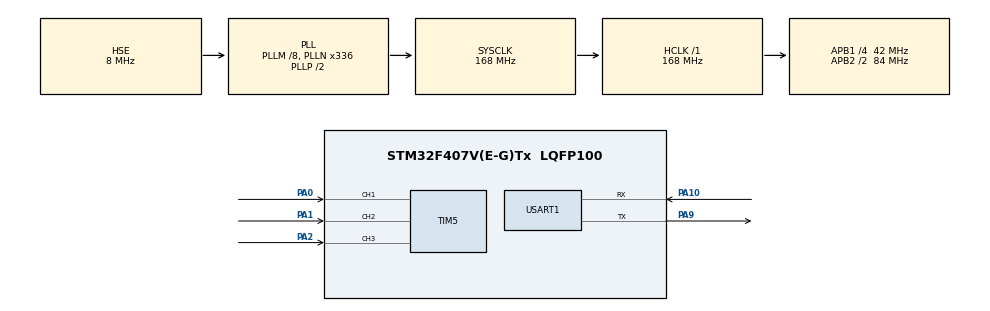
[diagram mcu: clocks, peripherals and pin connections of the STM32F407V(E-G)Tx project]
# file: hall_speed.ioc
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Mcu.Family=STM32F4
Mcu.Name=STM32F407V(E-G)Tx
Mcu.Package=LQFP100
NVIC.PriorityGroup=NVIC_PRIORITYGROUP_4
NVIC.TIM5_IRQn=true\:0\:0\:false\:false\:true\:true\:true\:true
PA0-WKUP.Signal=S_TIM5_CH1
PA1.Signal=S_TIM5_CH2
PA10.Mode=Asynchronous
PA10.Signal=USART1_RX
PA2.Signal=S_TIM5_CH3
PA9.Mode=Asynchronous
PA9.Signal=USART1_TX
PH0-OSC_IN.Mode=HSE-External-Oscillator
PH0-OSC_IN.Signal=RCC_OSC_IN
PH1-OSC_OUT.Mode=HSE-External-Oscillator
PH1-OSC_OUT.Signal=RCC_OSC_OUT
ProjectManager.HeapSize=0x200
ProjectManager.StackSize=0x400
ProjectManager.TargetToolchain=MDK-ARM V5
RCC.48MHZClocksFreq_Value=84000000
RCC.AHBFreq_Value=168000000
RCC.APB1CLKDivider=RCC_HCLK_DIV4
RCC.APB1Freq_Value=42000000
RCC.APB1TimFreq_Value=84000000
RCC.APB2CLKDivider=RCC_HCLK_DIV2
RCC.APB2Freq_Value=84000000
RCC.APB2TimFreq_Value=168000000
RCC.CortexFreq_Value=168000000
RCC.HCLKFreq_Value=168000000
RCC.HSE_VALUE=8000000
RCC.HSI_VALUE=16000000
RCC.LSE_VALUE=32768
RCC.PLLM=8
RCC.PLLN=336
RCC.PLLSourceVirtual=RCC_PLLSOURCE_HSE
RCC.SYSCLKFreq_VALUE=168000000
RCC.SYSCLKSource=RCC_SYSCLKSOURCE_PLLCLK
RCC.VCOOutputFreq_Value=336000000
SH.S_TIM5_CH1.0=TIM5_CH1,Xored_Inputs_Hall_Sensor_Interface
SH.S_TIM5_CH2.0=TIM5_CH2,Xored_Inputs_Hall_Sensor_Interface
SH.S_TIM5_CH3.0=TIM5_CH3,Xored_Inputs_Hall_Sensor_Interface
USART1.VirtualMode=VM_ASYNC
board=custom

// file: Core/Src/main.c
/* USER CODE BEGIN Header */
/**
  ******************************************************************************
  * @file           : main.c
  * @brief          : Main program body
  ******************************************************************************
  * @attention
  *
  * Copyright (c) 2023 STMicroelectronics.
  * All rights reserved.
  *
  * This software is licensed under terms that can be found in the LICENSE file
  * in the root directory of this software component.
  * If no LICENSE file comes with this software, it is provided AS-IS.
  *
  ******************************************************************************
  */
/* USER CODE END Header */
#include "main.h"
#include "tim.h"
#include "usart.h"
#include "gpio.h"

/* USER CODE BEGIN Includes */
#include "bsp_bldc.h"
#include "bsp_hall.h"
/* USER CODE END Includes */

/* USER CODE BEGIN PTD */
#define TIMECNT   800
/* USER CODE END PTD */

/* USER CODE BEGIN PD */
float MotorSpeed  = 0.0f ;// 电机转速,这里是占空比,

_Bool isTimeUp    = 0;     // 计时标记
uint32_t timeTick = 0;   // 计时标记
extern MotorSta_Typedef Motor_State; // 电机使能状态
extern MotorDir_Typedef Motor_Dir;  // 电机方向 ,顺时针
extern float PWM_Duty;        // 25%占空比

extern MotorDir_Typedef RT_hallDir; // 霍尔顺序得到的电机转动方向

/* USER CODE END PD */

void SystemClock_Config(void);

int main(void)
{
  /* USER CODE BEGIN 1 */
float Speed_hz  = 0 ;
  /* USER CODE END 1 */

  /* MCU Configuration--------------------------------------------------------*/

  /* Reset of all peripherals, Initializes the Flash interface and the Systick. */
  HAL_Init();

  /* USER CODE BEGIN Init */
HALLSensor_TIMx_Init();
  /* USER CODE END Init */

  /* Configure the system clock */
  SystemClock_Config();

  /* Initialize all configured peripherals */
  MX_GPIO_Init();
  MX_TIM5_Init();
  MX_USART1_UART_Init();
  /* USER CODE BEGIN 2 */
   Motor_Dir = MOTOR_DIR_CW;
	printf(" <- 直流无刷电机基础驱动_HALL传感器测速 -> \n");
  printf(" <- 定时器的霍尔传感器接口功能,在CH1的比较器里面保存有两次边沿之间的\n");
  printf("计数值,根据这些计数值就可以测量出电机转速 -> \n");
  printf("正负代表方向 -> \n");
  printf("按键KEY1启动电机\n");
  printf("KEY2电机更换方向\n");
  printf("KEY3电机加速\n");
  printf("KEY4电机减速\n");
  printf("KEY5电机刹车停止\n");

  timeTick = TIMECNT;
  /* USER CODE END 2 */

  /* Infinite loop */
  /* USER CODE BEGIN WHILE */
  while (1)
  {
		if( isTimeUp )
    {
      uint32_t tmpCC = 0;
      if(RT_hallcnt == 0) // 避免除数为0
      {
        Speed_hz = 0;
      }
      else
      {
        tmpCC = RT_hallcomp / RT_hallcnt; // tmpCC:两次捕获之间的捕获值,
        Speed_hz = (float)HALL_TIM_FREQ/(float)(tmpCC);
      }
      RT_hallcomp = 0;
      RT_hallcnt  = 0;
      /* 霍尔信号的频率,转速rps,转速rpm */
      if(RT_hallDir == MOTOR_DIR_CW)
        Speed_hz = fabs(Speed_hz);
      else
        Speed_hz = -fabs(Speed_hz);
      /* 未做任何滤波的速度值 */
      printf("%.3f Hz, %.2f RPS, %.2fRPM\n", Speed_hz, Speed_hz/PPR, (Speed_hz/PPR)*60);

      isTimeUp = 0;
      timeTick = TIMECNT;
    }

    /* USER CODE END WHILE */

  }
}

void SystemClock_Config(void)
{
  RCC_OscInitTypeDef RCC_OscInitStruct = {0};
  RCC_ClkInitTypeDef RCC_ClkInitStruct = {0};

  /** Configure the main internal regulator output voltage
  */
  __HAL_RCC_PWR_CLK_ENABLE();
  __HAL_PWR_VOLTAGESCALING_CONFIG(PWR_REGULATOR_VOLTAGE_SCALE1);

  /** Initializes the RCC Oscillators according to the specified parameters
  * in the RCC_OscInitTypeDef structure.
  */
  RCC_OscInitStruct.OscillatorType = RCC_OSCILLATORTYPE_HSE;
  RCC_OscInitStruct.HSEState = RCC_HSE_ON;
  RCC_OscInitStruct.PLL.PLLState = RCC_PLL_ON;
  RCC_OscInitStruct.PLL.PLLSource = RCC_PLLSOURCE_HSE;
  RCC_OscInitStruct.PLL.PLLM = 8;
  RCC_OscInitStruct.PLL.PLLN = 336;
  RCC_OscInitStruct.PLL.PLLP = RCC_PLLP_DIV2;
  RCC_OscInitStruct.PLL.PLLQ = 4;
  if (HAL_RCC_OscConfig(&RCC_OscInitStruct) != HAL_OK)
  {
    Error_Handler();
  }

  /** Initializes the CPU, AHB and APB buses clocks
  */
  RCC_ClkInitStruct.ClockType = RCC_CLOCKTYPE_HCLK|RCC_CLOCKTYPE_SYSCLK
                              |RCC_CLOCKTYPE_PCLK1|RCC_CLOCKTYPE_PCLK2;
  RCC_ClkInitStruct.SYSCLKSource = RCC_SYSCLKSOURCE_PLLCLK;
  RCC_ClkInitStruct.AHBCLKDivider = RCC_SYSCLK_DIV1;
  RCC_ClkInitStruct.APB1CLKDivider = RCC_HCLK_DIV4;
  RCC_ClkInitStruct.APB2CLKDivider = RCC_HCLK_DIV2;

  if (HAL_RCC_ClockConfig(&RCC_ClkInitStruct, FLASH_LATENCY_5) != HAL_OK)
  {
    Error_Handler();
  }
}

/* USER CODE BEGIN 4 */
/**
  * 函数功能: 系统滴答定时器中断回调函数
  * 输入参数: 无
  * 返 回 值: 无
  * 说    明: 计时一定时间,然后换相
  */
void HAL_SYSTICK_Callback()
{
  if(timeTick != 0)
    timeTick--;
  if(timeTick == 0)
  {
    isTimeUp = 1;
  }
}
/* USER CODE END 4 */

void Error_Handler(void)
{
  __disable_irq();
  while (1)
  {
  }
}
